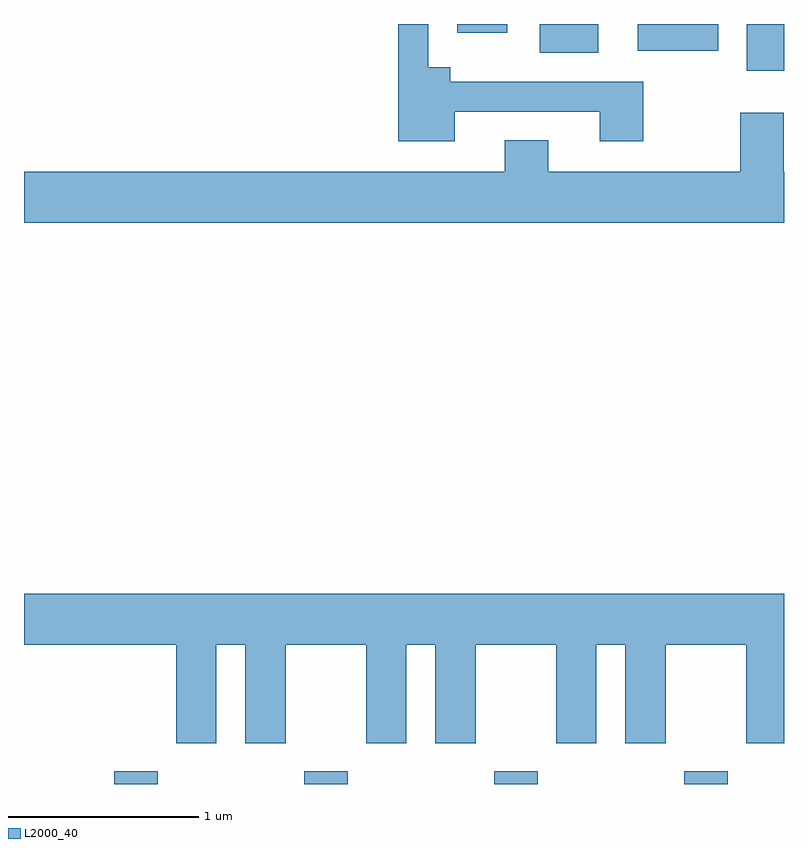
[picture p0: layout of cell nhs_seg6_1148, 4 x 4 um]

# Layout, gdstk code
import gdstk
lib = gdstk.Library(unit=1e-6, precision=1e-09)
def R(c, l, rs):  # rectangles x0, y0, x1, y1
    for r in rs: c.add(gdstk.rectangle(r[:2], r[2:], *l))
def A(c, l, x, y, w, h, nx, ny, dx, dy):  # array of equal rectangles
    R(c, l, [(x+i*dx, y+j*dy, x+i*dx+w, y+j*dy+h) for i in range(nx) for j in range(ny)])
def P(c, l, *ps):  # polygons
    for p in ps: c.add(gdstk.Polygon(p, *l))
L2000_40 = (2000, 40)

nhs_seg6_1148 = lib.new_cell('nhs_seg6_1148')
A(nhs_seg6_1148, L2000_40, 220.086, 1578.162, 0.228, 0.067, 4, 1, 1, 0)
R(nhs_seg6_1148, L2000_40, [(223.416,1581.916,223.611,1582.162), (222.326,1582.011,222.634,1582.162), (222.841,1582.021,223.264,1582.162), (221.891,1582.116,222.154,1582.162)])
P(nhs_seg6_1148, L2000_40, [(221.879,1581.701),(222.641,1581.701),(222.641,1581.546),(222.869,1581.546),(222.869,1581.859),(221.854,1581.859),(221.854,1581.934),(221.739,1581.934),(221.739,1582.162),(221.581,1582.162),(221.581,1581.546),(221.879,1581.546)],
  [(223.611,1581.384),(223.609,1581.384),(223.609,1581.694),(223.381,1581.694),(223.381,1581.384),(222.369,1581.384),(222.369,1581.549),(222.141,1581.549),(222.141,1581.384),(219.611,1581.384),(219.611,1581.116),(223.611,1581.116)],
  [(220.624,1578.896),(220.776,1578.896),(220.776,1578.376),(220.989,1578.376),(220.989,1578.896),(221.411,1578.896),(221.411,1578.376),(221.624,1578.376),(221.624,1578.896),(221.776,1578.896),(221.776,1578.376),(221.989,1578.376),(221.989,1578.896),(222.411,1578.896),(222.411,1578.376),(222.624,1578.376),(222.624,1578.896),(222.776,1578.896),(222.776,1578.376),(222.989,1578.376),(222.989,1578.896),(223.411,1578.896),(223.411,1578.376),(223.611,1578.376),(223.611,1579.164),(219.611,1579.164),(219.611,1578.896),(220.411,1578.896),(220.411,1578.376),(220.624,1578.376)])

lib.write_gds('nhs_seg6_1148.gds')
